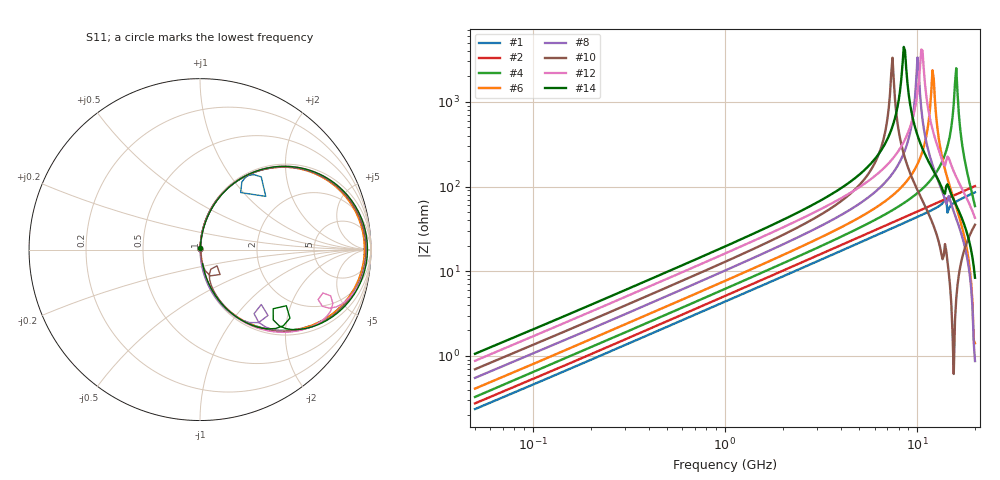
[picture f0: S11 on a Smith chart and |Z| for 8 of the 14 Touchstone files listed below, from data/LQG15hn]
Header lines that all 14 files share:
!These Parameters are Measured in Series Mode Connection
!  o--[Z]--o
!Port1  Port2
!  o-------o
!Freq. Start=50[MHz] Stop=20[GHz], 401[Steps]
# Hz S RI R 50
!Freq.(Hz) S11(Real) S11(Imag) S21(Real) S21(Imag) S12(Real) S12(Imag) S22(Real) S22(Imag)
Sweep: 50 MHz to 20 GHz
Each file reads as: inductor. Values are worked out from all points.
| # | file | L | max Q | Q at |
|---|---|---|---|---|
| 1 | LQG15HN1N0B02.s2p | 735 pH | 69 | 4.34 GHz |
| 2 | LQG15HN1N1B02.s2p | 859 pH | 69.8 | 3.681 GHz |
| 3 | LQG15HN1N2B02.s2p | 945 pH | 66.7 | 3.265 GHz |
| 4 | LQG15HN1N3B02.s2p | 1.03 nH | 71.1 | 3.217 GHz |
| 5 | LQG15HN1N5B02.s2p | 1.21 nH | 70.6 | 2.769 GHz |
| 6 | LQG15HN1N6B02.s2p | 1.29 nH | 64.2 | 2.853 GHz |
| 7 | LQG15HN1N8B02.s2p | 1.53 nH | 55.9 | 2.531 GHz |
| 8 | LQG15HN2N0B02.s2p | 1.72 nH | 56.5 | 2.728 GHz |
| 9 | LQG15HN2N2B02.s2p | 1.97 nH | 53.6 | 2.647 GHz |
| 10 | LQG15HN2N4B02.s2p | 2.18 nH | 50 | 2.494 GHz |
| 11 | LQG15HN2N7B02.s2p | 2.42 nH | 48.1 | 2.212 GHz |
| 12 | LQG15HN3N0B02.s2p | 2.74 nH | 51.9 | 2.769 GHz |
| 13 | LQG15HN3N3B02.s2p | 3.1 nH | 49.7 | 2.531 GHz |
| 14 | LQG15HN3N6B02.s2p | 3.31 nH | 46.8 | 2.456 GHz |
